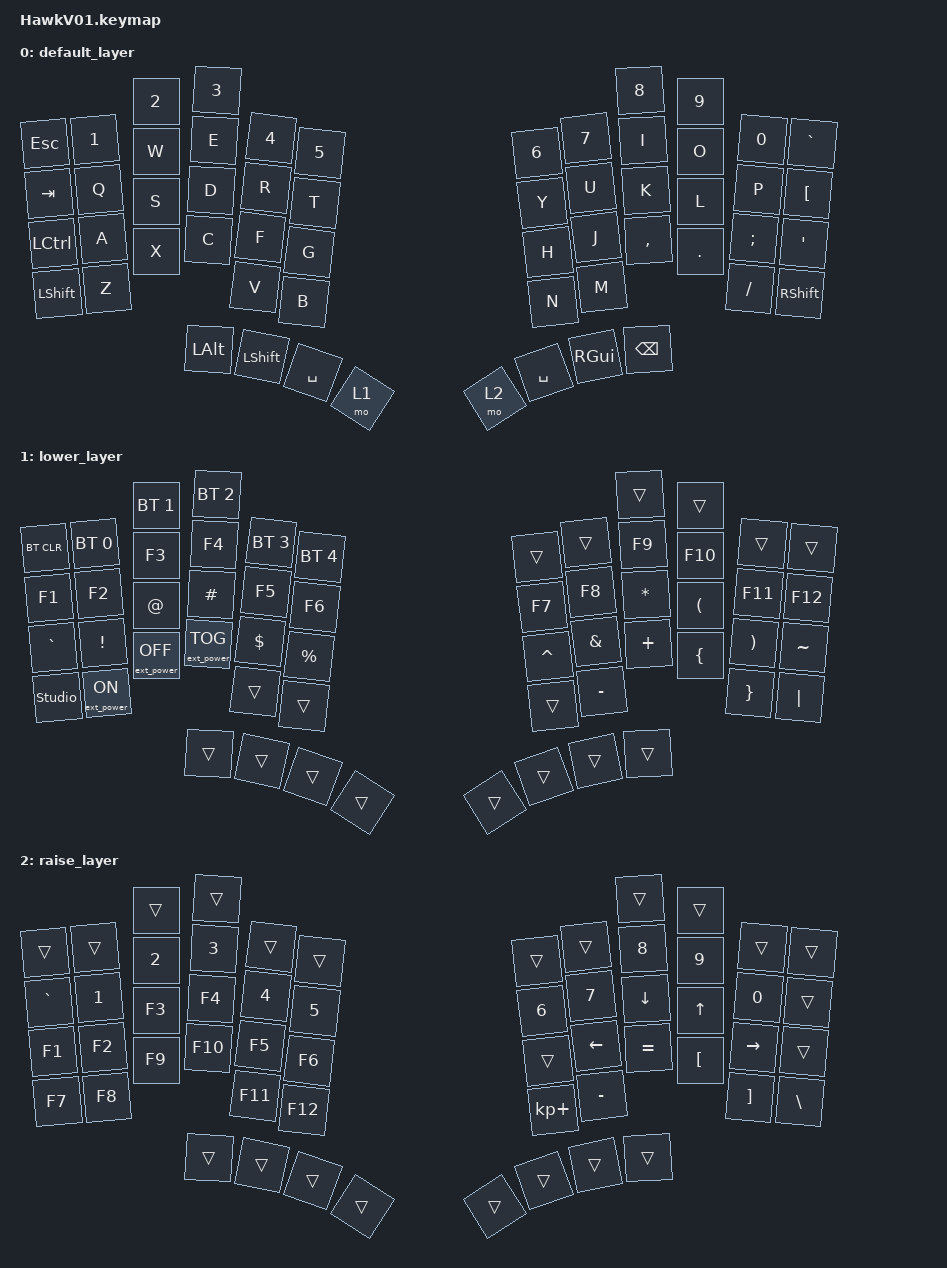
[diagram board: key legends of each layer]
/*
 * Copyright (c) 2020 The ZMK Contributors
 *
 * SPDX-License-Identifier: MIT
 */

#include <behaviors.dtsi>
#include <dt-bindings/zmk/keys.h>
#include <dt-bindings/zmk/bt.h>
#include <dt-bindings/zmk/ext_power.h>
#include <dt-bindings/zmk/outputs.h>

/ {
    keymap {
        compatible = "zmk,keymap";

        default_layer {
// ------------------------------------------------------------------------------------------------------------
// |  ESC  |  1  |  2  |  3   |  4   |  5   |                   |  6   |  7    |  8    |  9   |   0   |   `   |
// |  TAB  |  Q  |  W  |  E   |  R   |  T   |                   |  Y   |  U    |  I    |  O   |   P   |   Å   |
// |  CTRL |  A  |  S  |  D   |  F   |  G   |                   |  H   |  J    |  K    |  L   |   Æ   |   Ø   |
// | SHIFT |  Z  |  X  |  C   |  V   |  B   |                   |  N   |  M    |  ,    |  .   |   /   | SHIFT |
//                     | ALT  | GUI  | SPACE|  RAISE |  | LOWER | SPACE| GUI   | BSPC  |
            bindings = <
&kp ESC   &kp N1 &kp N2 &kp N3   &kp N4     &kp N5                     &kp N6    &kp N7   &kp N8    &kp N9  &kp N0   &kp GRAVE
&kp TAB   &kp Q  &kp W  &kp E    &kp R      &kp T                      &kp Y     &kp U    &kp I     &kp O   &kp P    &kp LBKT
&kp LCTRL &kp A  &kp S  &kp D    &kp F      &kp G                      &kp H     &kp J    &kp K     &kp L   &kp SEMI &kp SQT
&kp LSHFT &kp Z  &kp X  &kp C    &kp V      &kp B                      &kp N     &kp M    &kp COMMA &kp DOT &kp FSLH &kp RSHFT
//                        &kp LALT &kp LGUI   &mo 1  &kp SPACE  &kp RET  &mo 2     &kp BSPC &kp RGUI
                	&kp LALT &kp LSHIFT &kp SPACE &mo 1      &mo 2 &kp SPACE &kp RGUI &kp BSPC
            >;

        };

        lower_layer {
// ------------------------------------------------------------------------------------------------------------
// | BTCLR | BT1 | BT2 |  BT3 |  BT4 |  BT5 |                   |      |       |       |      |       |       |
// |  F1   |  F2 |  F3 |  F4  |  F5  |  F6  |                   |  F7  |  F8   |  F9   |  F10 |  F11  |  F12  |
// |   `   |  !  |  @  |  #   |  $   |  %   |                   |  ^   |  &    |  *    |  (   |   )   |   ~   |
// |       |     |     |      |      |      |        |  |       |      |  _    |  +    |  {   |   }   |  "|"  |
//                     |      |      |      |        |  |       |      |       |       |
            bindings = <
&bt BT_CLR     &bt BT_SEL 0     &bt BT_SEL 1      &bt BT_SEL 2      &bt BT_SEL 3 &bt BT_SEL 4                 &trans    &trans    &trans    &trans    &trans    &trans
&kp F1         &kp F2           &kp F3            &kp F4            &kp F5       &kp F6                       &kp F7    &kp F8    &kp F9    &kp F10   &kp F11   &kp F12
&kp GRAVE      &kp EXCL         &kp AT            &kp HASH          &kp DOLLAR   &kp PRCNT                    &kp CARET &kp AMPS  &kp ASTRK &kp LPAR  &kp RPAR  &kp TILDE
&studio_unlock &ext_power EP_ON &ext_power EP_OFF &ext_power EP_TOG &trans       &trans                       &trans    &kp MINUS &kp PLUS  &kp LBRC  &kp RBRC  &kp PIPE
                                                  &trans            &trans       &trans    &trans   &trans    &trans    &trans    &trans
            >;

        };

        raise_layer {
// ------------------------------------------------------------------------------------------------------------
// |       |     |     |      |      |      |                   |      |       |       |      |       |       |
// |   `   |  1  |  2  |  3   |  4   |  5   |                   |  6   |   7   |   8   |  9   |   0   |       |
// |   F1  |  F2 |  F3 |  F4  |  F5  |  F6  |                   |      |   <-  |   v   |  ^   |  ->   |       |
// |   F7  |  F8 |  F9 |  F10 |  F11 |  F12 |        |  |       |  +   |   -   |   =   |  [   |   ]   |   \   |
//                     |      |      |      |        |  |       |      |       |       |
            bindings = <
&trans    &trans &trans &trans  &trans  &trans                       &trans      &trans    &trans    &trans   &trans    &trans
&kp GRAVE &kp N1 &kp N2 &kp N3  &kp N4  &kp N5                       &kp N6      &kp N7    &kp N8    &kp N9   &kp N0    &trans
&kp F1    &kp F2 &kp F3 &kp F4  &kp F5  &kp F6                       &trans      &kp LEFT  &kp DOWN  &kp UP   &kp RIGHT &trans
&kp F7    &kp F8 &kp F9 &kp F10 &kp F11 &kp F12                      &kp KP_PLUS &kp MINUS &kp EQUAL &kp LBKT &kp RBKT  &kp BSLH
                        &trans  &trans  &trans    &trans   &trans    &trans      &trans    &trans
            >;

        };
        
        extra1 {
        	status = "reserved";
        };
        
        extra2 {
        	status = "reserved";
        };
        
    };
};
